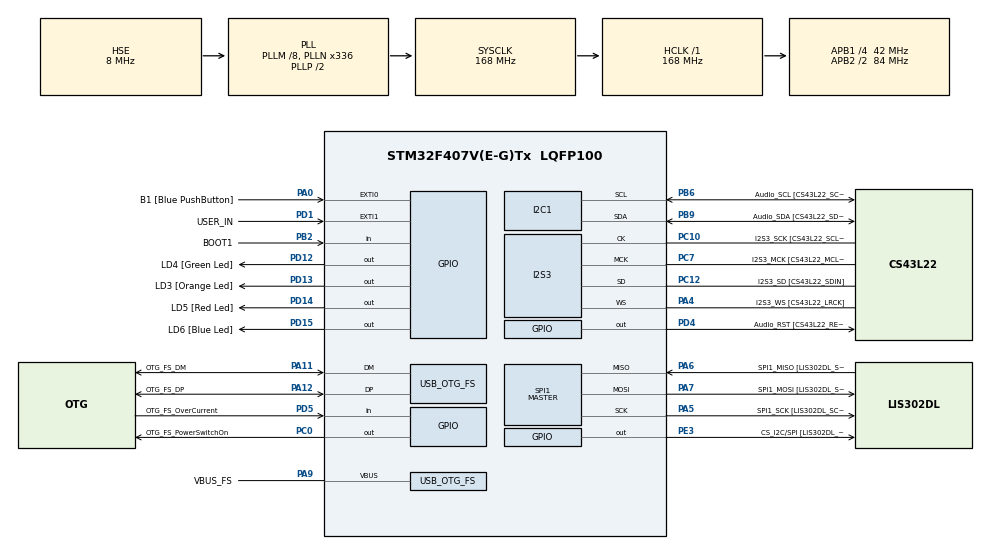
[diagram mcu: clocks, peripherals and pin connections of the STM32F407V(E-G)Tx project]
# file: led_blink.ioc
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I2S3.AudioFreq-Half_Duplex_Master=I2S_AUDIOFREQ_96K
I2S3.ErrorAudioFreq=-2.34 %
I2S3.ErrorAudioFreq-Half_Duplex_Master=0.8 %
I2S3.FullDuplexMode=I2S_FULLDUPLEXMODE_DISABLE
I2S3.Instance=SPI$Index
I2S3.RealAudioFreq=93.75 KHz
I2S3.RealAudioFreq-Half_Duplex_Master=96.774 KHz
I2S3.VirtualMode=I2S_MODE_MASTER
Mcu.Family=STM32F4
Mcu.Name=STM32F407V(E-G)Tx
Mcu.Package=LQFP100
NVIC.EXTI0_IRQn=true\:0\:0\:false\:false\:true\:true\:true\:true
NVIC.EXTI1_IRQn=true\:0\:0\:false\:false\:true\:true\:true\:true
NVIC.OTG_FS_IRQn=true\:0\:0\:false\:false\:true\:true\:true\:true
NVIC.PriorityGroup=NVIC_PRIORITYGROUP_0
NVIC.TIM1_UP_TIM10_IRQn=true\:0\:0\:false\:false\:true\:true\:true\:true
PA0-WKUP.GPIO_Label=B1 [Blue PushButton]
PA0-WKUP.GPIO_ModeDefaultEXTI=GPIO_MODE_IT_RISING_FALLING
PA0-WKUP.GPIO_PuPd=GPIO_NOPULL
PA0-WKUP.Signal=GPXTI0
PA10.GPIO_Label=OTG_FS_ID
PA10.GPIO_Mode=GPIO_MODE_AF_PP
PA10.GPIO_PuPd=GPIO_NOPULL
PA10.GPIO_Speed=GPIO_SPEED_FREQ_LOW
PA10.Signal=USB_OTG_FS_ID
PA11.GPIO_Label=OTG_FS_DM
PA11.GPIO_Mode=GPIO_MODE_AF_PP
PA11.GPIO_PuPd=GPIO_NOPULL
PA11.GPIO_Speed=GPIO_SPEED_FREQ_LOW
PA11.Mode=Host_Only
PA11.Signal=USB_OTG_FS_DM
PA12.GPIO_Label=OTG_FS_DP
PA12.GPIO_Mode=GPIO_MODE_AF_PP
PA12.GPIO_PuPd=GPIO_NOPULL
PA12.GPIO_Speed=GPIO_SPEED_FREQ_LOW
PA12.Mode=Host_Only
PA12.Signal=USB_OTG_FS_DP
PA13.GPIO_Label=SWDIO
PA13.Mode=Serial_Wire
PA13.Signal=SYS_JTMS-SWDIO
PA14.GPIO_Label=SWCLK
PA14.Mode=Serial_Wire
PA14.Signal=SYS_JTCK-SWCLK
PA4.GPIO_Label=I2S3_WS [CS43L22_LRCK]
PA4.GPIO_Mode=GPIO_MODE_AF_PP
PA4.GPIO_PuPd=GPIO_NOPULL
PA4.GPIO_Speed=GPIO_SPEED_FREQ_LOW
PA4.Mode=Half_Duplex_Master
PA4.Signal=I2S3_WS
PA5.GPIO_Label=SPI1_SCK [LIS302DL_SCL/SPC]
PA5.GPIO_Mode=GPIO_MODE_AF_PP
PA5.GPIO_PuPd=GPIO_NOPULL
PA5.GPIO_Speed=GPIO_SPEED_FREQ_LOW
PA5.Mode=Full_Duplex_Master
PA5.Signal=SPI1_SCK
PA6.GPIO_Label=SPI1_MISO [LIS302DL_SDO]
PA6.GPIO_Mode=GPIO_MODE_AF_PP
PA6.GPIO_PuPd=GPIO_NOPULL
PA6.GPIO_Speed=GPIO_SPEED_FREQ_LOW
PA6.Mode=Full_Duplex_Master
PA6.Signal=SPI1_MISO
PA7.GPIO_Label=SPI1_MOSI [LIS302DL_SDA/SDI/SDO]
PA7.GPIO_Mode=GPIO_MODE_AF_PP
PA7.GPIO_PuPd=GPIO_NOPULL
PA7.GPIO_Speed=GPIO_SPEED_FREQ_LOW
PA7.Mode=Full_Duplex_Master
PA7.Signal=SPI1_MOSI
PA9.GPIO_Label=VBUS_FS
PA9.GPIO_Mode=GPIO_MODE_INPUT
PA9.GPIO_PuPd=GPIO_NOPULL
PA9.Mode=Activate_VBUS
PA9.Signal=USB_OTG_FS_VBUS
PB10.GPIO_Label=CLK_IN [MP45DT02_CLK]
PB10.GPIO_Mode=GPIO_MODE_AF_PP
PB10.GPIO_PuPd=GPIO_NOPULL
PB10.GPIO_Speed=GPIO_SPEED_FREQ_LOW
PB10.Signal=I2S2_CK
PB2.GPIO_Label=BOOT1
PB2.GPIO_Mode=GPIO_MODE_INPUT
PB2.GPIO_PuPd=GPIO_NOPULL
PB2.Signal=GPIO_Input
PB3.GPIO_Label=SWO
PB3.Signal=SYS_JTDO-SWO
PB6.GPIO_Label=Audio_SCL [CS43L22_SCL]
PB6.GPIO_Mode=GPIO_MODE_AF_OD
PB6.GPIO_Pu=GPIO_PULLUP
PB6.GPIO_PuPd=GPIO_NOPULL
PB6.GPIO_Speed=GPIO_SPEED_FREQ_LOW
PB6.Mode=I2C
PB6.Signal=I2C1_SCL
PB9.GPIO_Label=Audio_SDA [CS43L22_SDA]
PB9.GPIO_Mode=GPIO_MODE_AF_OD
PB9.GPIO_Pu=GPIO_PULLUP
PB9.GPIO_PuPd=GPIO_NOPULL
PB9.GPIO_Speed=GPIO_SPEED_FREQ_LOW
PB9.Mode=I2C
PB9.Signal=I2C1_SDA
PC0.GPIO_Label=OTG_FS_PowerSwitchOn
PC0.GPIO_PuPd=GPIO_NOPULL
PC0.GPIO_Speed=GPIO_SPEED_FREQ_LOW
PC0.PinState=GPIO_PIN_SET
PC0.Signal=GPIO_Output
PC10.GPIO_Label=I2S3_SCK [CS43L22_SCLK]
PC10.GPIO_Mode=GPIO_MODE_AF_PP
PC10.GPIO_PuPd=GPIO_NOPULL
PC10.GPIO_Speed=GPIO_SPEED_FREQ_LOW
PC10.Mode=Half_Duplex_Master
PC10.Signal=I2S3_CK
PC12.GPIO_Label=I2S3_SD [CS43L22_SDIN]
PC12.GPIO_Mode=GPIO_MODE_AF_PP
PC12.GPIO_PuPd=GPIO_NOPULL
PC12.GPIO_Speed=GPIO_SPEED_FREQ_LOW
PC12.Mode=Half_Duplex_Master
PC12.Signal=I2S3_SD
PC14-OSC32_IN.GPIO_Label=PC14-OSC32_IN
PC14-OSC32_IN.Mode=LSE-External-Oscillator
PC14-OSC32_IN.Signal=RCC_OSC32_IN
PC15-OSC32_OUT.GPIO_Label=PC15-OSC32_OUT
PC15-OSC32_OUT.Mode=LSE-External-Oscillator
PC15-OSC32_OUT.Signal=RCC_OSC32_OUT
PC3.GPIO_Label=PDM_OUT [MP45DT02_DOUT]
PC3.GPIO_Mode=GPIO_MODE_AF_PP
PC3.GPIO_PuPd=GPIO_NOPULL
PC3.GPIO_Speed=GPIO_SPEED_FREQ_LOW
PC3.Signal=I2S2_SD
PC7.GPIO_Label=I2S3_MCK [CS43L22_MCLK]
PC7.GPIO_Mode=GPIO_MODE_AF_PP
PC7.GPIO_PuPd=GPIO_NOPULL
PC7.GPIO_Speed=GPIO_SPEED_FREQ_LOW
PC7.Mode=Master_Clock_Activated
PC7.Signal=I2S3_MCK
PD1.GPIO_Label=USER_IN
PD1.GPIO_ModeDefaultEXTI=GPIO_MODE_IT_RISING_FALLING
PD1.GPIO_PuPd=GPIO_PULLDOWN
PD1.Signal=GPXTI1
PD12.GPIO_Label=LD4 [Green Led]
PD12.GPIO_PuPd=GPIO_NOPULL
PD12.GPIO_Speed=GPIO_SPEED_FREQ_LOW
PD12.Signal=GPIO_Output
PD13.GPIO_Label=LD3 [Orange Led]
PD13.GPIO_PuPd=GPIO_NOPULL
PD13.GPIO_Speed=GPIO_SPEED_FREQ_LOW
PD13.Signal=GPIO_Output
PD14.GPIO_Label=LD5 [Red Led]
PD14.GPIO_PuPd=GPIO_NOPULL
PD14.GPIO_Speed=GPIO_SPEED_FREQ_LOW
PD14.Signal=GPIO_Output
PD15.GPIO_Label=LD6 [Blue Led]
PD15.GPIO_PuPd=GPIO_NOPULL
PD15.GPIO_Speed=GPIO_SPEED_FREQ_LOW
PD15.Signal=GPIO_Output
PD4.GPIO_Label=Audio_RST [CS43L22_RESET]
PD4.GPIO_PuPd=GPIO_NOPULL
PD4.GPIO_Speed=GPIO_SPEED_FREQ_LOW
PD4.Signal=GPIO_Output
PD5.GPIO_Label=OTG_FS_OverCurrent
PD5.GPIO_Mode=GPIO_MODE_INPUT
PD5.GPIO_PuPd=GPIO_NOPULL
PD5.Signal=GPIO_Input
PE3.GPIO_Label=CS_I2C/SPI [LIS302DL_CS_I2C/SPI]
PE3.GPIO_PuPd=GPIO_NOPULL
PE3.GPIO_Speed=GPIO_SPEED_FREQ_LOW
PE3.Signal=GPIO_Output
PH0-OSC_IN.GPIO_Label=PH0-OSC_IN
PH0-OSC_IN.Mode=HSE-External-Oscillator
PH0-OSC_IN.Signal=RCC_OSC_IN
PH1-OSC_OUT.GPIO_Label=PH1-OSC_OUT
PH1-OSC_OUT.Mode=HSE-External-Oscillator
PH1-OSC_OUT.Signal=RCC_OSC_OUT
ProjectManager.HeapSize=0x200
ProjectManager.StackSize=0x400
ProjectManager.TargetToolchain=STM32CubeIDE
RCC.48MHZClocksFreq_Value=48000000
RCC.AHBFreq_Value=168000000
RCC.APB1CLKDivider=RCC_HCLK_DIV4
RCC.APB1Freq_Value=42000000
RCC.APB1TimFreq_Value=84000000
RCC.APB2CLKDivider=RCC_HCLK_DIV2
RCC.APB2Freq_Value=84000000
RCC.APB2TimFreq_Value=168000000
RCC.CortexFreq_Value=168000000
RCC.HCLKFreq_Value=168000000
RCC.HSE_VALUE=8000000
RCC.HSI_VALUE=16000000
RCC.PLLM=8
RCC.PLLN=336
RCC.PLLQ=7
RCC.SYSCLKFreq_VALUE=168000000
RCC.SYSCLKSource=RCC_SYSCLKSOURCE_PLLCLK
RCC.VCOOutputFreq_Value=336000000
SPI1.BaudRatePrescaler-Full_Duplex_Master=SPI_BAUDRATEPRESCALER_2
SPI1.CalculateBaudRate-Full_Duplex_Master=42.0 MBits/s
SPI1.Direction=SPI_DIRECTION_2LINES
SPI1.Mode=SPI_MODE_MASTER
SPI1.Mode-Full_Duplex_Master=SPI_MODE_MASTER
SPI1.VirtualType=VM_MASTER
TIM1.AutoReloadPreload=TIM_AUTORELOAD_PRELOAD_ENABLE
USB_HOST.BSP.number=1
USB_HOST.USBH_HandleTypeDef-CDC_FS=hUsbHostFS
USB_HOST.VirtualModeFS=Cdc
USB_HOST0.BSP.STBoard=false
USB_HOST0.BSP.api=Unknown
USB_HOST0.BSP.instance=PC0
USB_HOST0.BSP.ip=GPIO
USB_HOST0.BSP.mode=Output
USB_HOST0.BSP.name=Drive_VBUS_FS
USB_HOST0.BSP.solution=PC0
USB_OTG_FS.VirtualMode=Host_Only
USB_OTG_FS.phy_itface=HCD_PHY_EMBEDDED
VP_TIM1_VS_ClockSourceINT.Mode=Internal
VP_USB_HOST_VS_USB_HOST_CDC_FS.Mode=CDC_FS
board=STM32F407G-DISC1

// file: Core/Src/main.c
/* USER CODE BEGIN Header */
/**
  ******************************************************************************
  * @file           : main.c
  * @brief          : Main program body
  ******************************************************************************
  * @attention
  *
  * Copyright (c) 2026 STMicroelectronics.
  * All rights reserved.
  *
  * This software is licensed under terms that can be found in the LICENSE file
  * in the root directory of this software component.
  * If no LICENSE file comes with this software, it is provided AS-IS.
  *
  ******************************************************************************
  */
/* USER CODE END Header */
#include "main.h"
#include "usb_host.h"

/* USER CODE BEGIN PTD */

typedef struct {
	GPIO_TypeDef* port;
	uint16_t pin;
	uint32_t period;
	uint32_t last_tick;
} blinking_led_t;

/* USER CODE END PTD */

/* USER CODE BEGIN PD */

#define NUM_LEDS ((sizeof(leds)/sizeof(leds[0])))

/* USER CODE END PD */

I2C_HandleTypeDef hi2c1;

I2S_HandleTypeDef hi2s3;

SPI_HandleTypeDef hspi1;

TIM_HandleTypeDef htim1;

/* USER CODE BEGIN PV */

volatile uint8_t button_pressed = 0;
volatile uint8_t button_val = 0;
volatile uint32_t press_time = 0;

volatile uint8_t timer_elapsed = 0;

volatile uint8_t paused = 0;

blinking_led_t leds[] = {
	{
		.port   = LD3_GPIO_Port,
		.pin    = LD3_Pin,
		.period = 100,
		.last_tick = 0
	},
	{
		.port   = LD4_GPIO_Port,
		.pin    = LD4_Pin,
		.period = 200,
		.last_tick = 0
	},
	{
		.port   = LD5_GPIO_Port,
		.pin    = LD5_Pin,
		.period = 400,
		.last_tick = 0
	},
	{
		.port   = LD6_GPIO_Port,
		.pin    = LD6_Pin,
		.period = 800,
		.last_tick = 0
	}
};

/* USER CODE END PV */

void SystemClock_Config(void);
static void MX_GPIO_Init(void);
static void MX_I2C1_Init(void);
static void MX_I2S3_Init(void);
static void MX_SPI1_Init(void);
static void MX_TIM1_Init(void);
void MX_USB_HOST_Process(void);

/* USER CODE BEGIN PFP */
int twice_square(int x);
/* USER CODE END PFP */

int main(void)
{

  /* MCU Configuration--------------------------------------------------------*/

  /* Reset of all peripherals, Initializes the Flash interface and the Systick. */
  HAL_Init();

  /* Configure the system clock */
  SystemClock_Config();

  /* Initialize all configured peripherals */
  MX_GPIO_Init();
  MX_I2C1_Init();
  MX_I2S3_Init();
  MX_SPI1_Init();
  MX_USB_HOST_Init();
  MX_TIM1_Init();
  /* USER CODE BEGIN 2 */

  HAL_TIM_Base_Start_IT(&htim1);

  const int NUM_RESULTS = 512;
  int results[NUM_RESULTS];
  for(int i = 0; i < NUM_RESULTS; i++){
	  results[i] = twice_square(i);
  }

  const uint32_t PRESS_LENGTH_THRESHOLD = 800;
  const uint32_t MIN_PRESS_LENGTH = 10;

  htim1.Instance->PSC = 1 << 7;

  /* USER CODE END 2 */

  /* Infinite loop */
  while (1)
  {
    MX_USB_HOST_Process();

    /* USER CODE BEGIN 3 */

    uint32_t tick = HAL_GetTick();

    uint8_t current_timer_elapsed = timer_elapsed;
    timer_elapsed = 0;

    if(button_pressed){
    	button_pressed = 0;
    	if(!button_val){
			uint32_t press_length = tick - press_time;
    		if(press_length > PRESS_LENGTH_THRESHOLD){
    			htim1.Instance->PSC = htim1.Instance->PSC << 1;

			}else if(press_length > MIN_PRESS_LENGTH){
				htim1.Instance->PSC = htim1.Instance->PSC >> 1;
			}
    	}
    }

    if(paused || !current_timer_elapsed){
    	continue;
    }

    for(int i = 0; i < NUM_LEDS; i++){
    	leds[i].last_tick = (leds[i].last_tick + 1) & ((1 << (i + 1)) - 1);
    	if(leds[i].last_tick == 0)
    		HAL_GPIO_TogglePin(leds[i].port, leds[i].pin);

    }

  }
  /* USER CODE END 3 */
}

void SystemClock_Config(void)
{
  RCC_OscInitTypeDef RCC_OscInitStruct = {0};
  RCC_ClkInitTypeDef RCC_ClkInitStruct = {0};

  /** Configure the main internal regulator output voltage
  */
  __HAL_RCC_PWR_CLK_ENABLE();
  __HAL_PWR_VOLTAGESCALING_CONFIG(PWR_REGULATOR_VOLTAGE_SCALE1);

  /** Initializes the RCC Oscillators according to the specified parameters
  * in the RCC_OscInitTypeDef structure.
  */
  RCC_OscInitStruct.OscillatorType = RCC_OSCILLATORTYPE_HSE;
  RCC_OscInitStruct.HSEState = RCC_HSE_ON;
  RCC_OscInitStruct.PLL.PLLState = RCC_PLL_ON;
  RCC_OscInitStruct.PLL.PLLSource = RCC_PLLSOURCE_HSE;
  RCC_OscInitStruct.PLL.PLLM = 8;
  RCC_OscInitStruct.PLL.PLLN = 336;
  RCC_OscInitStruct.PLL.PLLP = RCC_PLLP_DIV2;
  RCC_OscInitStruct.PLL.PLLQ = 7;
  if (HAL_RCC_OscConfig(&RCC_OscInitStruct) != HAL_OK)
  {
    Error_Handler();
  }

  /** Initializes the CPU, AHB and APB buses clocks
  */
  RCC_ClkInitStruct.ClockType = RCC_CLOCKTYPE_HCLK|RCC_CLOCKTYPE_SYSCLK
                              |RCC_CLOCKTYPE_PCLK1|RCC_CLOCKTYPE_PCLK2;
  RCC_ClkInitStruct.SYSCLKSource = RCC_SYSCLKSOURCE_PLLCLK;
  RCC_ClkInitStruct.AHBCLKDivider = RCC_SYSCLK_DIV1;
  RCC_ClkInitStruct.APB1CLKDivider = RCC_HCLK_DIV4;
  RCC_ClkInitStruct.APB2CLKDivider = RCC_HCLK_DIV2;

  if (HAL_RCC_ClockConfig(&RCC_ClkInitStruct, FLASH_LATENCY_5) != HAL_OK)
  {
    Error_Handler();
  }
}

static void MX_I2C1_Init(void)
{

  hi2c1.Instance = I2C1;
  hi2c1.Init.ClockSpeed = 100000;
  hi2c1.Init.DutyCycle = I2C_DUTYCYCLE_2;
  hi2c1.Init.OwnAddress1 = 0;
  hi2c1.Init.AddressingMode = I2C_ADDRESSINGMODE_7BIT;
  hi2c1.Init.DualAddressMode = I2C_DUALADDRESS_DISABLE;
  hi2c1.Init.OwnAddress2 = 0;
  hi2c1.Init.GeneralCallMode = I2C_GENERALCALL_DISABLE;
  hi2c1.Init.NoStretchMode = I2C_NOSTRETCH_DISABLE;
  if (HAL_I2C_Init(&hi2c1) != HAL_OK)
  {
    Error_Handler();
  }

}

static void MX_I2S3_Init(void)
{

  hi2s3.Instance = SPI3;
  hi2s3.Init.Mode = I2S_MODE_MASTER_TX;
  hi2s3.Init.Standard = I2S_STANDARD_PHILIPS;
  hi2s3.Init.DataFormat = I2S_DATAFORMAT_16B;
  hi2s3.Init.MCLKOutput = I2S_MCLKOUTPUT_ENABLE;
  hi2s3.Init.AudioFreq = I2S_AUDIOFREQ_96K;
  hi2s3.Init.CPOL = I2S_CPOL_LOW;
  hi2s3.Init.ClockSource = I2S_CLOCK_PLL;
  hi2s3.Init.FullDuplexMode = I2S_FULLDUPLEXMODE_DISABLE;
  if (HAL_I2S_Init(&hi2s3) != HAL_OK)
  {
    Error_Handler();
  }

}

static void MX_SPI1_Init(void)
{

  /* SPI1 parameter configuration*/
  hspi1.Instance = SPI1;
  hspi1.Init.Mode = SPI_MODE_MASTER;
  hspi1.Init.Direction = SPI_DIRECTION_2LINES;
  hspi1.Init.DataSize = SPI_DATASIZE_8BIT;
  hspi1.Init.CLKPolarity = SPI_POLARITY_LOW;
  hspi1.Init.CLKPhase = SPI_PHASE_1EDGE;
  hspi1.Init.NSS = SPI_NSS_SOFT;
  hspi1.Init.BaudRatePrescaler = SPI_BAUDRATEPRESCALER_2;
  hspi1.Init.FirstBit = SPI_FIRSTBIT_MSB;
  hspi1.Init.TIMode = SPI_TIMODE_DISABLE;
  hspi1.Init.CRCCalculation = SPI_CRCCALCULATION_DISABLE;
  hspi1.Init.CRCPolynomial = 10;
  if (HAL_SPI_Init(&hspi1) != HAL_OK)
  {
    Error_Handler();
  }

}

static void MX_TIM1_Init(void)
{

  TIM_ClockConfigTypeDef sClockSourceConfig = {0};
  TIM_MasterConfigTypeDef sMasterConfig = {0};

  htim1.Instance = TIM1;
  htim1.Init.Prescaler = 0;
  htim1.Init.CounterMode = TIM_COUNTERMODE_UP;
  htim1.Init.Period = 65535;
  htim1.Init.ClockDivision = TIM_CLOCKDIVISION_DIV1;
  htim1.Init.RepetitionCounter = 0;
  htim1.Init.AutoReloadPreload = TIM_AUTORELOAD_PRELOAD_ENABLE;
  if (HAL_TIM_Base_Init(&htim1) != HAL_OK)
  {
    Error_Handler();
  }
  sClockSourceConfig.ClockSource = TIM_CLOCKSOURCE_INTERNAL;
  if (HAL_TIM_ConfigClockSource(&htim1, &sClockSourceConfig) != HAL_OK)
  {
    Error_Handler();
  }
  sMasterConfig.MasterOutputTrigger = TIM_TRGO_RESET;
  sMasterConfig.MasterSlaveMode = TIM_MASTERSLAVEMODE_DISABLE;
  if (HAL_TIMEx_MasterConfigSynchronization(&htim1, &sMasterConfig) != HAL_OK)
  {
    Error_Handler();
  }

}

static void MX_GPIO_Init(void)
{
  GPIO_InitTypeDef GPIO_InitStruct = {0};

  /* GPIO Ports Clock Enable */
  __HAL_RCC_GPIOE_CLK_ENABLE();
  __HAL_RCC_GPIOC_CLK_ENABLE();
  __HAL_RCC_GPIOH_CLK_ENABLE();
  __HAL_RCC_GPIOA_CLK_ENABLE();
  __HAL_RCC_GPIOB_CLK_ENABLE();
  __HAL_RCC_GPIOD_CLK_ENABLE();

  /*Configure GPIO pin Output Level */
  HAL_GPIO_WritePin(CS_I2C_SPI_GPIO_Port, CS_I2C_SPI_Pin, GPIO_PIN_RESET);

  /*Configure GPIO pin Output Level */
  HAL_GPIO_WritePin(OTG_FS_PowerSwitchOn_GPIO_Port, OTG_FS_PowerSwitchOn_Pin, GPIO_PIN_SET);

  /*Configure GPIO pin Output Level */
  HAL_GPIO_WritePin(GPIOD, LD4_Pin|LD3_Pin|LD5_Pin|LD6_Pin
                          |Audio_RST_Pin, GPIO_PIN_RESET);

  /*Configure GPIO pin : CS_I2C_SPI_Pin */
  GPIO_InitStruct.Pin = CS_I2C_SPI_Pin;
  GPIO_InitStruct.Mode = GPIO_MODE_OUTPUT_PP;
  GPIO_InitStruct.Pull = GPIO_NOPULL;
  GPIO_InitStruct.Speed = GPIO_SPEED_FREQ_LOW;
  HAL_GPIO_Init(CS_I2C_SPI_GPIO_Port, &GPIO_InitStruct);

  /*Configure GPIO pin : OTG_FS_PowerSwitchOn_Pin */
  GPIO_InitStruct.Pin = OTG_FS_PowerSwitchOn_Pin;
  GPIO_InitStruct.Mode = GPIO_MODE_OUTPUT_PP;
  GPIO_InitStruct.Pull = GPIO_NOPULL;
  GPIO_InitStruct.Speed = GPIO_SPEED_FREQ_LOW;
  HAL_GPIO_Init(OTG_FS_PowerSwitchOn_GPIO_Port, &GPIO_InitStruct);

  /*Configure GPIO pin : PDM_OUT_Pin */
  GPIO_InitStruct.Pin = PDM_OUT_Pin;
  GPIO_InitStruct.Mode = GPIO_MODE_AF_PP;
  GPIO_InitStruct.Pull = GPIO_NOPULL;
  GPIO_InitStruct.Speed = GPIO_SPEED_FREQ_LOW;
  GPIO_InitStruct.Alternate = GPIO_AF5_SPI2;
  HAL_GPIO_Init(PDM_OUT_GPIO_Port, &GPIO_InitStruct);

  /*Configure GPIO pin : B1_Pin */
  GPIO_InitStruct.Pin = B1_Pin;
  GPIO_InitStruct.Mode = GPIO_MODE_IT_RISING_FALLING;
  GPIO_InitStruct.Pull = GPIO_NOPULL;
  HAL_GPIO_Init(B1_GPIO_Port, &GPIO_InitStruct);

  /*Configure GPIO pin : BOOT1_Pin */
  GPIO_InitStruct.Pin = BOOT1_Pin;
  GPIO_InitStruct.Mode = GPIO_MODE_INPUT;
  GPIO_InitStruct.Pull = GPIO_NOPULL;
  HAL_GPIO_Init(BOOT1_GPIO_Port, &GPIO_InitStruct);

  /*Configure GPIO pin : CLK_IN_Pin */
  GPIO_InitStruct.Pin = CLK_IN_Pin;
  GPIO_InitStruct.Mode = GPIO_MODE_AF_PP;
  GPIO_InitStruct.Pull = GPIO_NOPULL;
  GPIO_InitStruct.Speed = GPIO_SPEED_FREQ_LOW;
  GPIO_InitStruct.Alternate = GPIO_AF5_SPI2;
  HAL_GPIO_Init(CLK_IN_GPIO_Port, &GPIO_InitStruct);

  /*Configure GPIO pins : LD4_Pin LD3_Pin LD5_Pin LD6_Pin
                           Audio_RST_Pin */
  GPIO_InitStruct.Pin = LD4_Pin|LD3_Pin|LD5_Pin|LD6_Pin
                          |Audio_RST_Pin;
  GPIO_InitStruct.Mode = GPIO_MODE_OUTPUT_PP;
  GPIO_InitStruct.Pull = GPIO_NOPULL;
  GPIO_InitStruct.Speed = GPIO_SPEED_FREQ_LOW;
  HAL_GPIO_Init(GPIOD, &GPIO_InitStruct);

  /*Configure GPIO pin : USER_IN_Pin */
  GPIO_InitStruct.Pin = USER_IN_Pin;
  GPIO_InitStruct.Mode = GPIO_MODE_IT_RISING_FALLING;
  GPIO_InitStruct.Pull = GPIO_PULLDOWN;
  HAL_GPIO_Init(USER_IN_GPIO_Port, &GPIO_InitStruct);

  /*Configure GPIO pin : OTG_FS_OverCurrent_Pin */
  GPIO_InitStruct.Pin = OTG_FS_OverCurrent_Pin;
  GPIO_InitStruct.Mode = GPIO_MODE_INPUT;
  GPIO_InitStruct.Pull = GPIO_NOPULL;
  HAL_GPIO_Init(OTG_FS_OverCurrent_GPIO_Port, &GPIO_InitStruct);

  /* EXTI interrupt init*/
  HAL_NVIC_SetPriority(EXTI0_IRQn, 0, 0);
  HAL_NVIC_EnableIRQ(EXTI0_IRQn);

  HAL_NVIC_SetPriority(EXTI1_IRQn, 0, 0);
  HAL_NVIC_EnableIRQ(EXTI1_IRQn);

}

/* USER CODE BEGIN 4 */
int twice_square(int x){
	return 2*x*x;
}

void HAL_GPIO_EXTI_Callback(uint16_t GPIO_Pin) {
	if(GPIO_Pin == 1){
		button_pressed = 1;
		button_val = HAL_GPIO_ReadPin(B1_GPIO_Port, B1_Pin);
		if(button_val)
			press_time = HAL_GetTick();
	}else if(GPIO_Pin == 2){
		paused = HAL_GPIO_ReadPin(USER_IN_GPIO_Port, USER_IN_Pin);
	}
}

void HAL_TIM_PeriodElapsedCallback(TIM_HandleTypeDef *htim){
	timer_elapsed = 1;
}

/* USER CODE END 4 */

void Error_Handler(void)
{
  __disable_irq();
  while (1)
  {
  }
}
